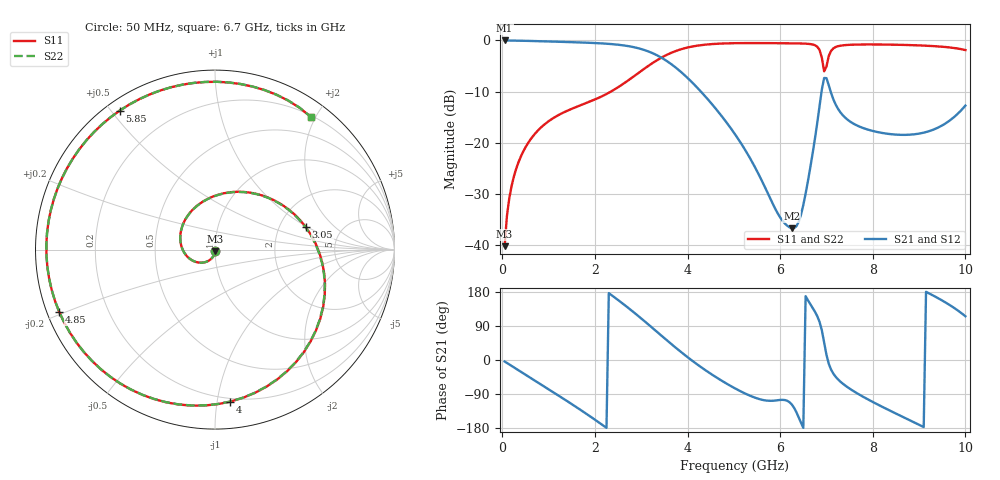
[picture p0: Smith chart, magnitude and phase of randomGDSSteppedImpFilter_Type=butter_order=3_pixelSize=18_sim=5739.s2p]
! freq	dB(S11)	phase(S11)	dB(S12)	phase(S12)
!  dB(S21)	phase(S21)	dB(S22)	phase(S22)
!S-par simulation data
#  GHz  S  DB  R 50
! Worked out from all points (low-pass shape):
!   200 points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, 50 MHz to 10 GHz, reference 50 ohm
!   highest |S21| = -0.02 dB at 50 MHz (marker M1); lowest = -36.7 dB at 6.25 GHz (marker M2)
!   |S21| within 3 dB of the highest: start of sweep to 3.363 GHz
!   lowest |S11| = -40.2 dB at 50 MHz (marker M3), VSWR 1.02, Z = 50.1 - j0.973 ohm
!   |S11| at or under -10 dB: start of sweep to 2.347 GHz
!   |S22| runs from -40.2 to -0.5 dB; largest |S21 - S12| = 0
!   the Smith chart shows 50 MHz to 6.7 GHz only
!   S11 on the Smith chart (normalised r, x): 50 MHz: 1.00, -0.02; 3.05 GHz: 2.81, +0.96; 4 GHz: 0.18, -1.09; 4.85 GHz: 0.03, -0.19; 5.85 GHz: 0.04, +0.53; 6.7 GHz: 0.22, +1.93
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0.05  -40.22 -85.1  -0.02 -3.9  -0.02 -3.9  -40.22 -85.1
0.2  -28.48 -104.0  -0.04 -15.5  -0.04 -15.5  -28.49 -104.0
0.5  -20.91 -128.6  -0.09 -38.5  -0.09 -38.5  -20.91 -128.6
1.15  -14.92 -179.4  -0.25 -88.7  -0.25 -88.7  -14.92 -179.6
1.75  -12.48 132.8  -0.43 -136.6  -0.43 -136.6  -12.48 132.5
2.4  -9.72 76.9  -0.76 167.5  -0.76 167.5  -9.72 76.5
3.05  -5.65 13.8  -1.83 104.6  -1.83 104.6  -5.65 13.3
3.4  -3.57 -22.9  -3.20 68.1  -3.20 68.1  -3.57 -23.4
4  -1.40 -84.2  -7.34 7.5  -7.34 7.5  -1.40 -84.6
4.85  -0.59 -158.2  -16.14 -62.8  -16.14 -62.8  -0.59 -158.5
5.05  -0.55 -174.0  -18.68 -76.5  -18.68 -76.5  -0.55 -174.3
5.85  -0.55 124.5  -32.11 -107.5  -32.11 -107.5  -0.55 124.3
6.25  -0.58 93.3  -36.71 -117.0  -36.71 -117.0  -0.58 93.1
6.45  -0.61 77.1  -34.07 -165.4  -34.07 -165.4  -0.61 76.9
6.7  -0.80 54.2  -22.16 137.9  -22.16 137.9  -0.80 54.2
6.85  -1.85 34.8  -12.91 100.8  -12.91 100.8  -1.83 34.9
6.95  -6.06 35.0  -7.35 46.8  -7.35 46.8  -5.95 35.0
7.15  -1.56 42.5  -11.55 -36.2  -11.55 -36.2  -1.55 42.2
7.65  -0.82 1.3  -16.60 -87.0  -16.60 -87.0  -0.82 1.2
8.35  -0.83 -43.7  -18.29 -132.4  -18.29 -132.4  -0.83 -43.8
9.25  -1.09 -96.7  -17.64 173.7  -17.64 173.7  -1.09 -96.8
10  -1.90 -149.7  -12.75 115.5  -12.75 115.5  -1.91 -150.1
